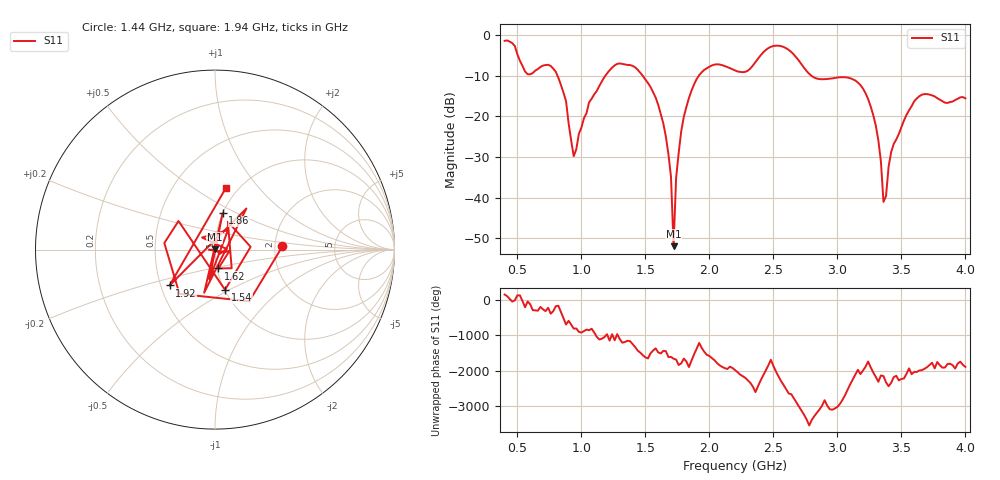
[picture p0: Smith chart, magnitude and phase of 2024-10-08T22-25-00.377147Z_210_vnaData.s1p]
! Created with skrf (http://scikit-rf.org).
# Hz S RI R 50.0
!freq ReS11 ImS11
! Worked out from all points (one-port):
!   181 points, 400 MHz to 4 GHz, reference 50 ohm
!   lowest |S11| = -52.0 dB at 1.72 GHz (marker M1), VSWR 1.01, Z = 49.8 + j0.182 ohm
!   |S11| at or under -10 dB: 813.5 MHz to 1.187 GHz (373 MHz wide, 37.3 % of centre); 1.48 GHz to 1.916 GHz (436.3 MHz wide, 25.7 % of centre); 2.798 GHz to end of sweep
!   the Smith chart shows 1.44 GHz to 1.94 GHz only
!   S11 on the Smith chart (normalised r, x): 1.44 GHz: 2.20, +0.09; 1.54 GHz: 1.01, -0.48; 1.62 GHz: 1.01, -0.22; 1.86 GHz: 1.00, +0.42; 1.92 GHz: 0.56, -0.25; 1.94 GHz: 0.88, +0.69
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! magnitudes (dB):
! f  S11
! 400 MHz  -1.4
! 580 MHz  -9.6
! 760 MHz  -7.6
! 860 MHz  -14.1
! 940 MHz  -29.8
! 1.06 GHz  -16.5
! 1.3 GHz  -6.9
! 1.44 GHz  -8.5
! 1.54 GHz  -12.7
! 1.62 GHz  -19.4
! 1.7 GHz  -34.9
! 1.72 GHz  -52.0
! 1.74 GHz  -35.1
! 1.76 GHz  -29.0
! 1.86 GHz  -13.7
! 1.92 GHz  -9.8
! 1.94 GHz  -9.1
! 2.2 GHz  -8.6
! 2.5 GHz  -2.6
! 2.66 GHz  -4.8
! 2.82 GHz  -10.4
! 3.1 GHz  -10.6
! 3.28 GHz  -19.7
! 3.34 GHz  -31.1
! 3.36 GHz  -41.1
! 3.42 GHz  -28.8
! 3.56 GHz  -18.5
! 4 GHz  -15.5
